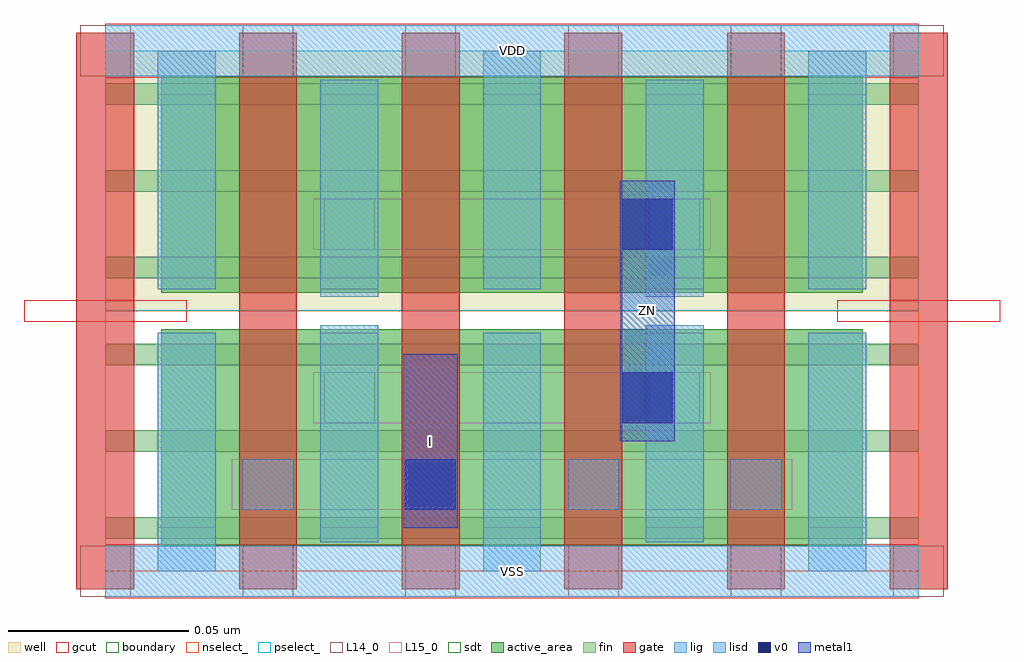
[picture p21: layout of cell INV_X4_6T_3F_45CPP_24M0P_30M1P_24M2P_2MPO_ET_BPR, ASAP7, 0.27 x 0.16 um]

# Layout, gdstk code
import gdstk
lib = gdstk.Library(unit=1e-6, precision=2.5e-10)
def R(c, l, rs):  # rectangles x0, y0, x1, y1
    for r in rs: c.add(gdstk.rectangle(r[:2], r[2:], *l))
def A(c, l, x, y, w, h, nx, ny, dx, dy):  # array of equal rectangles
    R(c, l, [(x+i*dx, y+j*dy, x+i*dx+w, y+j*dy+h) for i in range(nx) for j in range(ny)])
well = (1, 0)
fin = (2, 0)
gate = (7, 0)
gcut = (10, 0)
active_area = (11, 0)
nselect_ = (12, 0)
pselect_ = (13, 0)
L14_0 = (14, 0)
L15_0 = (15, 0)
lig = (16, 0)
lisd = (17, 0)
v0 = (18, 0)
metal1 = (19, 0)
sdt = (88, 0)
boundary = (100, 0)

inv_x4_6t_3f_45cpp_24m0p = lib.new_cell('INV_X4_6T_3F_45CPP_24M0P_30M1P_24M2P_2MPO_ET_BPR')
R(inv_x4_6t_3f_45cpp_24m0p, well, [(0,0.072,0.225,0.144)])
A(inv_x4_6t_3f_45cpp_24m0p, fin, 0, 0.009, 0.225, 0.006, 1, 6, 0, 0.024)
A(inv_x4_6t_3f_45cpp_24m0p, gate, -0.008, -0.005, 0.016, 0.154, 6, 1, 0.045, 0)
R(inv_x4_6t_3f_45cpp_24m0p, gcut, [(0,-0.0075,0.225,0.0075), (-0.0225,0.069,0.0225,0.075), (0.2025,0.069,0.2475,0.075), (0,0.1365,0.225,0.1515)])
R(inv_x4_6t_3f_45cpp_24m0p, active_area, [(0.0155,0.007,0.2095,0.067), (0.0155,0.077,0.2095,0.137)])
R(inv_x4_6t_3f_45cpp_24m0p, nselect_, [(0,0,0.225,0.072)])
R(inv_x4_6t_3f_45cpp_24m0p, pselect_, [(0,0.072,0.225,0.144)])
A(inv_x4_6t_3f_45cpp_24m0p, L14_0, -0.007, -0.007, 0.014, 0.014, 6, 2, 0.045, 0.144)
A(inv_x4_6t_3f_45cpp_24m0p, L14_0, 0.038, 0.017, 0.014, 0.014, 4, 1, 0.045, 0)
R(inv_x4_6t_3f_45cpp_24m0p, L14_0, [(0.0605,0.041,0.0745,0.055), (0.1505,0.041,0.1645,0.055), (0.0605,0.089,0.0745,0.103), (0.1505,0.089,0.1645,0.103)])
R(inv_x4_6t_3f_45cpp_24m0p, L15_0, [(0,-0.007,0.225,0.007), (0.035,0.017,0.19,0.031), (0.0575,0.041,0.1675,0.055), (0.0575,0.089,0.1675,0.103), (0,0.137,0.225,0.151)])
A(inv_x4_6t_3f_45cpp_24m0p, lig, 0.038, 0.017, 0.014, 0.014, 4, 1, 0.045, 0)
R(inv_x4_6t_3f_45cpp_24m0p, lig, [(0,-0.007,0.225,0.007), (0,0.137,0.225,0.151)])
A(inv_x4_6t_3f_45cpp_24m0p, lisd, 0.0145, 0, 0.016, 0.066, 3, 2, 0.09, 0.078)
R(inv_x4_6t_3f_45cpp_24m0p, lisd, [(0.0595,0.008,0.0755,0.068), (0.1495,0.008,0.1655,0.068), (0.0595,0.076,0.0755,0.136), (0.1495,0.076,0.1655,0.136)])
R(inv_x4_6t_3f_45cpp_24m0p, v0, [(0.083,0.017,0.097,0.031), (0.143,0.041,0.157,0.055), (0.143,0.089,0.157,0.103)])
R(inv_x4_6t_3f_45cpp_24m0p, metal1, [(0.0825,0.012,0.0975,0.06), (0.1425,0.036,0.1575,0.108)])
A(inv_x4_6t_3f_45cpp_24m0p, sdt, 0.0145, 0.012, 0.016, 0.054, 5, 2, 0.045, 0.066)
R(inv_x4_6t_3f_45cpp_24m0p, boundary, [(0,0,0.225,0.144)])
inv_x4_6t_3f_45cpp_24m0p.add(gdstk.Label('ZN', (0.15,0.072), layer=19, texttype=251))
inv_x4_6t_3f_45cpp_24m0p.add(gdstk.Label('I', (0.09,0.036), layer=19, texttype=251))
inv_x4_6t_3f_45cpp_24m0p.add(gdstk.Label('VDD', (0.1125,0.144), layer=15, texttype=251))
inv_x4_6t_3f_45cpp_24m0p.add(gdstk.Label('VSS', (0.1125,0), layer=15, texttype=251))
inv_x4_6t_3f_45cpp_24m0p.add(gdstk.Label('VDD', (0.1125,0.144), layer=1, texttype=251))
inv_x4_6t_3f_45cpp_24m0p.add(gdstk.Label('VSS', (0.1125,0), layer=3, texttype=251))

lib.write_gds('INV_X4_6T_3F_45CPP_24M0P_30M1P_24M2P_2MPO_ET_BPR.gds')
